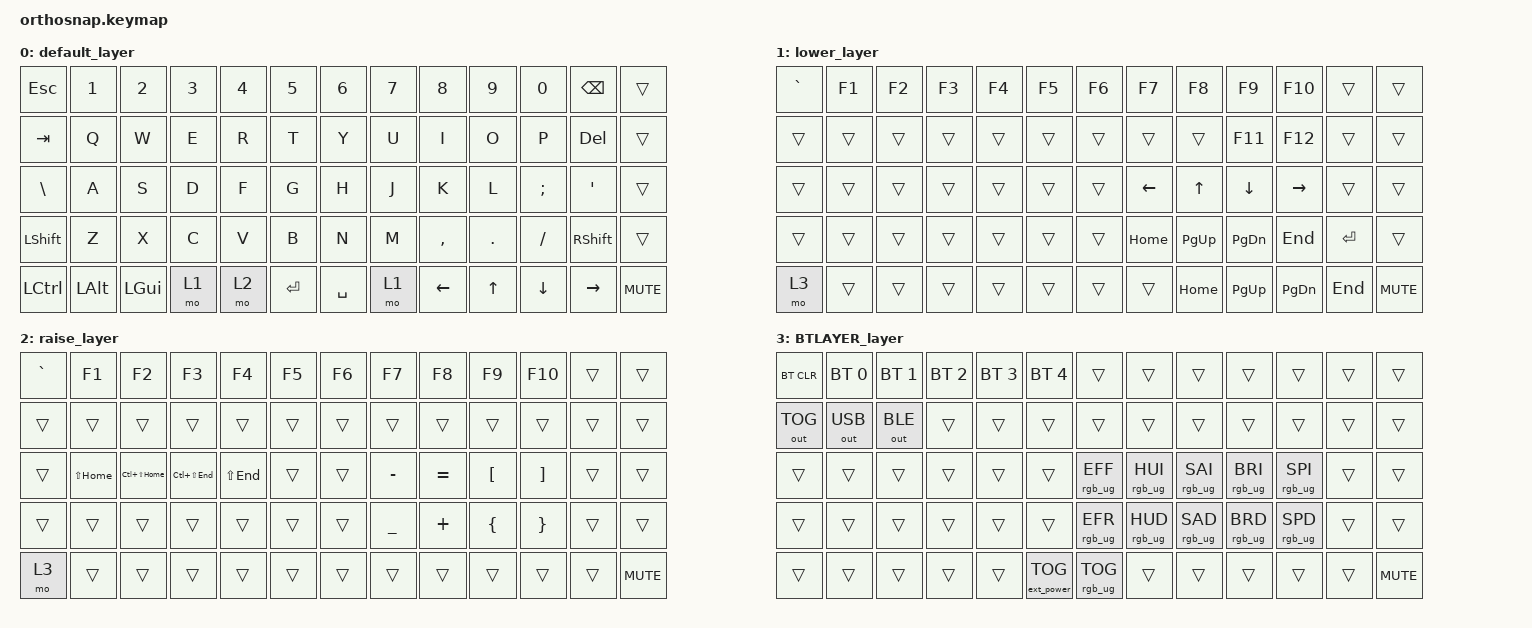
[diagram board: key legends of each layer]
/*
 * Copyright (c) 2020 The ZMK Contributors
 *
 * SPDX-License-Identifier: MIT
 */

 #include <behaviors.dtsi>
 #include <dt-bindings/zmk/keys.h>
 #include <dt-bindings/zmk/bt.h>
 #include <dt-bindings/zmk/outputs.h>
 #include <dt-bindings/zmk/rgb.h>
 #include <dt-bindings/zmk/ext_power.h>

 #define DEFAULT 0
 #define LOWER  1
 #define RAISE  2
 #define BTLAYER 3

&spi1 {
	compatible = "nordic,nrf-spim";
	/* Cannot be used together with i2c0. */
	status = "okay";
	mosi-pin = <34>;
	// Unused pins, needed for SPI definition, but not used by the ws2812 driver itself.
	sck-pin = <5>;
	miso-pin = <7>;

	led_strip: ws2812@0 {
		compatible = "worldsemi,ws2812-spi";
		label = "SK6812mini";

		/* SPI */
		reg = <0>; /* ignored, but necessary for SPI bindings */
		spi-max-frequency = <4000000>;

		/* WS2812 */
		chain-length = <60>;
		spi-one-frame = <0x70>;
		spi-zero-frame = <0x40>;
		color-mapping = <LED_COLOR_ID_GREEN
				   LED_COLOR_ID_RED
				   LED_COLOR_ID_BLUE>;
	};
};

/ {
	chosen {
		zmk,underglow = &led_strip;
	};
};

&kscan0 {
    debounce-period = <8>;
};

/ {
       keymap {
              compatible = "zmk,keymap";
 
              default_layer {
 // -------------------------------------------------------------------- ----------------------------------------------------------
 // |  ESC   |   1    |   2    |   3    |   4    |   5    |                 |   6    |   7    |   8    |   9    |   0    |  BSPC  |
 // |  TAB   |   Q    |   W    |   E    |   R    |   T    |                 |   Y    |   U    |   I    |   O    |   P    |  DEL   |
 // |  \     |   A    |   S    |   D    |   F    |   G    |                 |   H    |   J    |   K    |   L    |   ;    |   '    |
 // |  SHIFT |   Z    |   X    |   C    |   V    |   B    |                 |   N    |   M    |   ,    |   .    |   /    |  SHIFT |
 // |  CTRL  |  ALT   |  WIN   | LOWER  | RAISE  | SPACE  |                 |  SPACE | LOWER  |  LEFT  |  UP    |  DOWN  |  RIGHT |
                     bindings = <
       &kp ESC    &kp N1   &kp N2    &kp N3    &kp N4    &kp N5              &kp N6    &kp N7    &kp N8    &kp N9     &kp N0    &kp BSPC  &trans
       &kp TAB    &kp Q    &kp W     &kp E     &kp R     &kp T               &kp Y     &kp U     &kp I     &kp O      &kp P     &kp DEL   &trans
       &kp BSLH   &kp A    &kp S     &kp D     &kp F     &kp G               &kp H     &kp J     &kp K     &kp L      &kp SEMI  &kp SQT   &trans
       &kp LSHFT  &kp Z    &kp X     &kp C     &kp V     &kp B               &kp N     &kp M     &kp COMMA &kp PERIOD &kp SLASH &kp RSHFT &trans
       &kp LCTRL  &kp LALT &kp LGUI  &mo 1     &mo 2     &kp ENTER           &kp SPACE &mo 1     &kp LEFT   &kp UP    &kp DOWN  &kp RIGHT &kp C_MUTE
                     >;
              };
              lower_layer {
 //    ---------------------------------------------------------             -----------------------------------------------------------
 //    |  ~       |  F1     |  F2   |  F3     |  F4     |  F5  |             |  F6    |   F7    |   F8     |   F9    |   F10   |       |
 //    |          |         |       |         |         |      |             |        |         |          |   F11   |   F12   |       |
 //    |          |         |       |         |         |      |             |        |  LEFT   |   UP     |  DOWN   |  RIGHT  |       |
 //    |          |         |       |         |         |      |             |        |  HOME   |  PG UP   |  PG DN  |  END    |       |
 //    |          |         |       |         |         |      |             |        |         |  HOME    |  PG UP  |  PG DN  |  END  |
                     bindings = <
       &kp GRAVE   &kp F1   &kp F2   &kp F3    &kp F4    &kp F5              &kp F6    &kp F7    &kp F8     &kp F9    &kp F10   &trans    &trans
       &trans      &trans   &trans   &trans    &trans    &trans              &trans    &trans    &trans     &kp F11   &kp F12   &trans    &trans
       &trans      &trans   &trans   &trans    &trans    &trans              &trans    &kp LEFT  &kp UP     &kp DOWN  &kp RIGHT &trans    &trans
       &trans      &trans   &trans   &trans    &trans    &trans              &trans    &kp HOME  &kp PG_UP  &kp PG_DN &kp END   &kp ENTER &trans
       &mo 3       &trans   &trans   &trans    &trans    &trans              &trans    &trans    &kp HOME   &kp PG_UP &kp PG_DN &kp END   &kp C_MUTE
                     >;
              };
              raise_layer {
 //    -------------------------------------------------------------------------------                                             --------------------------------------------------------------
 //    |   `      |  F1        |  F2            |  F3           |  F4        |  F5   |                                             |  F6   |  F7     |   F8      |   F9      |  F10     |       |
 //    |          |            |                |               |            |       |                                             |       |         |           |           |          |       |
 //    |          | LS(HOME)   |                |               |            |       |                                             |       |   -     |    =      |   [       |   ]      |       |
 //    |          |            |                |               |            |       |                                             |       |   _     |    +      |   {       |   }      |       |
 //    |BTLAYER   |            |                |               |            |       |                                             |       |         |           |           |          |       |
                     bindings = <
       &kp GRAVE   &kp F1       &kp F2           &kp F3          &kp F4       &kp F5                     &kp F6  &kp F7    &kp F8     &kp F9       &kp F10    &trans  &trans
       &trans      &trans       &trans           &trans          &trans       &trans                     &trans  &trans    &trans     &trans       &trans     &trans  &trans
       &trans      &kp LS(HOME) &kp LC(LS(HOME)) &kp LC(LS(END)) &kp LS(END)  &trans                     &trans  &kp MINUS &kp EQUAL  &kp LBKT     &kp RBKT   &trans  &trans
       &trans      &trans       &trans           &trans          &trans       &trans                     &trans  &kp UNDER &kp PLUS   &kp LBRC     &kp RBRC   &trans  &trans
       &mo 3       &trans       &trans           &trans          &trans       &trans                     &trans  &trans    &trans     &trans       &trans     &trans  &kp C_MUTE
                     >;
              };
              BTLAYER_layer {
 // -------------------------------------------------------------------                       -----------------------------------------------------------------------------------------
 // |  BT CLR  | BT SEL0  | BT SEL1  | BT SEL2  | BT SEL3  | BT SEL4  |                       |               |               |               |               |                |      |
 // | OUT TOG  | OUT USB  | OUT BLE  |          |          |          |                       |               |               |               |               |                |      |
 // |          |          |          |          |          |          |                       |     Eff+      |      HUI      |      SAI      |      BRI      |      SPI       |      |
 // |          |          |          |          |          |          |                       |     Eff-      |      HUD      |      SAD      |      BRD      |      SPD       | ENT  |
 // |          |          |          |          |          |          |                       |  RGB TOGGLE   |               |               |               |                |      |
                     bindings = <
       &bt BT_CLR   &bt BT_SEL 0 &bt BT_SEL 1  &bt BT_SEL 2 &bt BT_SEL 3 &bt BT_SEL 4         &trans           &trans          &trans          &trans          &trans           &trans &trans
       &out OUT_TOG &out OUT_USB &out OUT_BLE  &trans       &trans       &trans               &trans           &trans          &trans          &trans          &trans           &trans &trans
       &trans       &trans       &trans        &trans       &trans       &trans               &rgb_ug RGB_EFF  &rgb_ug RGB_HUI &rgb_ug RGB_SAI &rgb_ug RGB_BRI &rgb_ug RGB_SPI  &trans &trans
       &trans       &trans       &trans        &trans       &trans       &trans               &rgb_ug RGB_EFR  &rgb_ug RGB_HUD &rgb_ug RGB_SAD &rgb_ug RGB_BRD &rgb_ug RGB_SPD  &trans &trans
       &trans       &trans       &trans        &trans       &trans       &ext_power EP_TOG    &rgb_ug RGB_TOG  &trans          &trans          &trans          &trans           &trans &kp C_MUTE
                     >;
              };
       };
};
